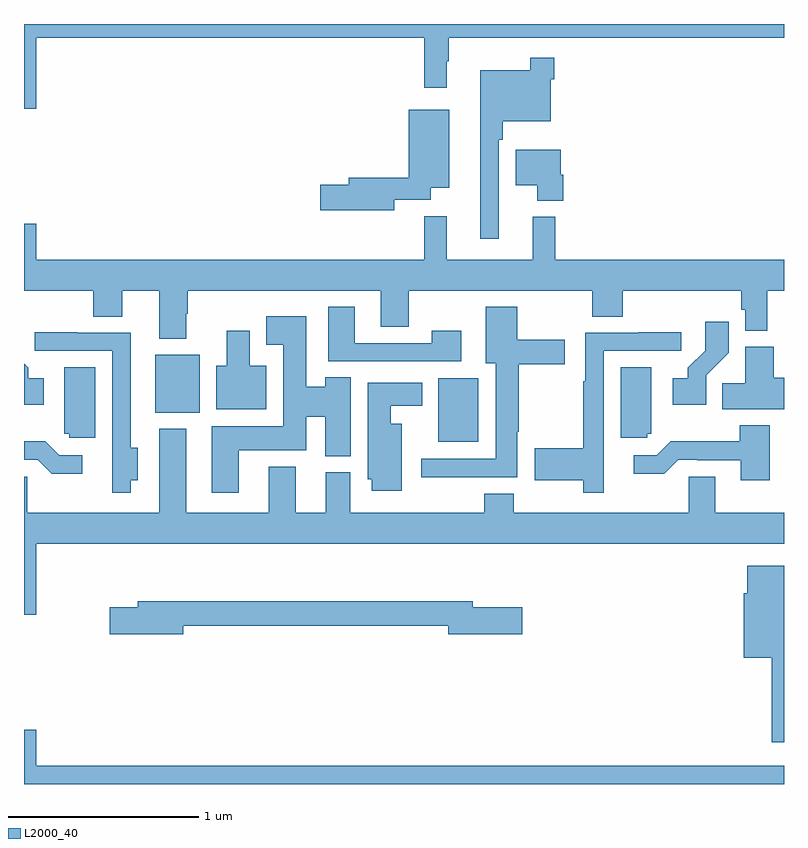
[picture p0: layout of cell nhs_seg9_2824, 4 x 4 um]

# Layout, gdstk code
import gdstk
lib = gdstk.Library(unit=1e-6, precision=1e-09)
def R(c, l, rs):  # rectangles x0, y0, x1, y1
    for r in rs: c.add(gdstk.rectangle(r[:2], r[2:], *l))
def P(c, l, *ps):  # polygons
    for p in ps: c.add(gdstk.Polygon(p, *l))
L2000_40 = (2000, 40)

nhs_seg9_2824 = lib.new_cell('nhs_seg9_2824')
R(nhs_seg9_2824, L2000_40, [(275.18,1186.301,275.392,1186.636), (273.692,1186.454,273.925,1186.759)])
P(nhs_seg9_2824, L2000_40, [(273.064,1188.428),(275.107,1188.428),(275.107,1188.165),(275.224,1188.165),(275.224,1188.305),(275.236,1188.305),(275.236,1188.428),(277,1188.428),(277,1188.5),(273,1188.5),(273,1188.054),(273.064,1188.054)],
  [(275.499,1187.891),(275.519,1187.891),(275.519,1187.987),(275.772,1187.987),(275.772,1188.209),(275.792,1188.209),(275.792,1188.322),(275.664,1188.322),(275.664,1188.256),(275.402,1188.256),(275.402,1187.37),(275.499,1187.37)],
  [(274.948,1187.574),(275.14,1187.574),(275.14,1187.639),(275.239,1187.639),(275.239,1188.049),(275.024,1188.049),(275.024,1187.69),(274.709,1187.69),(274.709,1187.654),(274.56,1187.654),(274.56,1187.519),(274.948,1187.519)],
  [(275.837,1187.706),(275.824,1187.706),(275.824,1187.839),(275.588,1187.839),(275.588,1187.651),(275.702,1187.651),(275.702,1187.57),(275.837,1187.57)],
  [(273.853,1186.976),(273.861,1186.976),(273.861,1187.096),(274.877,1187.096),(274.877,1186.906),(275.025,1186.906),(275.025,1187.096),(275.992,1187.096),(275.992,1186.96),(276.152,1186.96),(276.152,1187.096),(276.775,1187.096),(276.775,1186.995),(276.795,1186.995),(276.795,1186.886),(276.911,1186.886),(276.911,1187.096),(277,1187.096),(277,1187.26),(275.795,1187.26),(275.795,1187.485),(275.678,1187.485),(275.678,1187.26),(275.225,1187.26),(275.225,1187.489),(275.107,1187.489),(275.107,1187.26),(273.064,1187.26),(273.064,1187.449),(273,1187.449),(273,1187.096),(273.365,1187.096),(273.365,1186.96),(273.517,1186.96),(273.517,1187.096),(273.713,1187.096),(273.713,1186.844),(273.853,1186.844)],
  [(275.596,1186.354),(275.604,1186.354),(275.604,1186.708),(275.845,1186.708),(275.845,1186.837),(275.596,1186.837),(275.596,1187.011),(275.429,1187.011),(275.429,1186.715),(275.483,1186.715),(275.483,1186.212),(275.091,1186.212),(275.091,1186.115),(275.596,1186.115)],
  [(275.302,1186.885),(275.146,1186.885),(275.146,1186.821),(274.741,1186.821),(274.741,1187.011),(274.601,1187.011),(274.601,1186.725),(275.302,1186.725)],
  [(274.129,1186.256),(274.486,1186.256),(274.486,1186.433),(274.586,1186.433),(274.586,1186.225),(274.72,1186.225),(274.72,1186.64),(274.586,1186.64),(274.586,1186.591),(274.486,1186.591),(274.486,1186.963),(274.274,1186.963),(274.274,1186.811),(274.364,1186.811),(274.364,1186.384),(273.989,1186.384),(273.989,1186.032),(274.129,1186.032)],
  [(276.591,1186.651),(276.71,1186.77),(276.71,1186.933),(276.585,1186.933),(276.585,1186.781),(276.494,1186.691),(276.494,1186.636),(276.414,1186.636),(276.414,1186.496),(276.591,1186.496)],
  [(274.276,1186.702),(274.189,1186.702),(274.189,1186.885),(274.067,1186.885),(274.067,1186.702),(274.013,1186.702),(274.013,1186.472),(274.276,1186.472)],
  [(276.052,1186.254),(276.051,1186.254),(276.051,1186.779),(276.46,1186.779),(276.46,1186.878),(276.235,1186.878),(276.235,1186.875),(275.955,1186.875),(275.955,1186.619),(275.943,1186.619),(275.943,1186.266),(275.688,1186.266),(275.688,1186.1),(275.943,1186.1),(275.943,1186.032),(276.052,1186.032)],
  [(273.562,1186.1),(273.598,1186.1),(273.598,1186.271),(273.562,1186.271),(273.562,1186.875),(273.281,1186.875),(273.281,1186.878),(273.057,1186.878),(273.057,1186.779),(273.465,1186.779),(273.465,1186.254),(273.464,1186.254),(273.464,1186.032),(273.562,1186.032)],
  [(277,1186.638),(276.947,1186.638),(276.947,1186.801),(276.797,1186.801),(276.797,1186.61),(276.676,1186.61),(276.676,1186.472),(277,1186.472)],
  [(273.103,1186.636),(273.022,1186.636),(273.022,1186.691),(273,1186.713),(273,1186.496),(273.103,1186.496)],
  [(273.376,1186.693),(273.212,1186.693),(273.212,1186.344),(273.237,1186.344),(273.237,1186.323),(273.376,1186.323)],
  [(276.279,1186.344),(276.301,1186.344),(276.301,1186.693),(276.14,1186.693),(276.14,1186.323),(276.279,1186.323)],
  [(274.987,1186.396),(274.93,1186.396),(274.93,1186.49),(275.095,1186.49),(275.095,1186.612),(274.808,1186.612),(274.808,1186.104),(274.829,1186.104),(274.829,1186.044),(274.987,1186.044)],
  [(276.926,1186.387),(276.766,1186.387),(276.766,1186.303),(276.403,1186.303),(276.33,1186.23),(276.21,1186.23),(276.21,1186.133),(276.371,1186.133),(276.444,1186.206),(276.544,1186.206),(276.544,1186.203),(276.773,1186.203),(276.773,1186.098),(276.926,1186.098)],
  [(273.064,1185.764),(277,1185.764),(277,1185.928),(276.637,1185.928),(276.637,1186.118),(276.498,1186.118),(276.498,1185.928),(275.577,1185.928),(275.577,1186.027),(275.422,1186.027),(275.422,1185.928),(274.717,1185.928),(274.717,1186.14),(274.589,1186.14),(274.589,1185.928),(274.429,1185.928),(274.429,1186.171),(274.289,1186.171),(274.289,1185.928),(273.853,1185.928),(273.853,1186.369),(273.713,1186.369),(273.713,1185.928),(273.018,1185.928),(273.018,1186.118),(273,1186.118),(273,1185.39),(273.064,1185.39)],
  [(273.307,1186.23),(273.186,1186.23),(273.113,1186.303),(273,1186.303),(273,1186.206),(273.072,1186.206),(273.145,1186.133),(273.307,1186.133)],
  [(277,1185.649),(276.806,1185.649),(276.806,1185.504),(276.788,1185.504),(276.788,1185.164),(276.936,1185.164),(276.936,1184.721),(277,1184.721)],
  [(273.838,1185.334),(275.234,1185.334),(275.234,1185.287),(275.623,1185.287),(275.623,1185.429),(275.362,1185.429),(275.362,1185.463),(273.599,1185.463),(273.599,1185.429),(273.45,1185.429),(273.45,1185.287),(273.838,1185.287)],
  [(277,1184.596),(273.064,1184.596),(273.064,1184.785),(273,1184.785),(273,1184.5),(277,1184.5)])

lib.write_gds('nhs_seg9_2824.gds')
